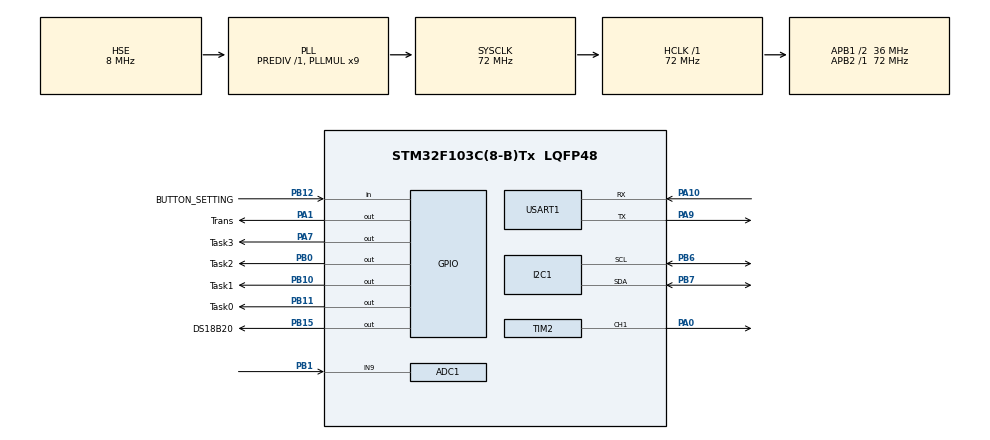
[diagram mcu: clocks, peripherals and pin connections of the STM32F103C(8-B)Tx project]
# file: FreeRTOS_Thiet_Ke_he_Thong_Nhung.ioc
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ADC1.Channel-0\#ChannelRegularConversion=ADC_CHANNEL_9
ADC1.ContinuousConvMode=ENABLE
ADC1.NbrOfConversionFlag=1
ADC1.Rank-0\#ChannelRegularConversion=1
ADC1.SamplingTime-0\#ChannelRegularConversion=ADC_SAMPLETIME_1CYCLE_5
ADC1.master=1
FREERTOS.BinarySemaphores01=xI2CSemaphore,Dynamic,NULL
FREERTOS.Queues01=PID1,16,uint16_t,0,Dynamic,NULL,NULL;PID2,16,uint16_t,0,Dynamic,NULL,NULL;Send_Data,16,uint16_t,0,Dynamic,NULL,NULL
FREERTOS.Tasks01=Read_Sensor_Tas,8,128,StartRead_Sensor_Task,Default,NULL,Dynamic,NULL,NULL;Send_Task,8,128,StartSend_Task,Default,NULL,Dynamic,NULL,NULL;Setpoint_Task,16,128,StartSetpoint_Task,Default,NULL,Dynamic,NULL,NULL;PID_Control_Tas,8,128,StartPID_Control_Task,Default,NULL,Dynamic,NULL,NULL
FREERTOS.configTICK_RATE_HZ=1000
Mcu.Family=STM32F1
Mcu.Name=STM32F103C(8-B)Tx
Mcu.Package=LQFP48
NVIC.PriorityGroup=NVIC_PRIORITYGROUP_4
NVIC.TIM1_UP_IRQn=true\:15\:0\:false\:false\:true\:false\:false\:true\:true
NVIC.TimeBase=TIM1_UP_IRQn
NVIC.TimeBaseIP=TIM1
PA0-WKUP.Signal=S_TIM2_CH1_ETR
PA1.GPIO_Label=Trans
PA1.Signal=GPIO_Output
PA10.Mode=Asynchronous
PA10.Signal=USART1_RX
PA13.Mode=Serial_Wire
PA13.Signal=SYS_JTMS-SWDIO
PA14.Mode=Serial_Wire
PA14.Signal=SYS_JTCK-SWCLK
PA7.GPIO_Label=Task3
PA7.Signal=GPIO_Output
PA9.Mode=Asynchronous
PA9.Signal=USART1_TX
PB0.GPIO_Label=Task2
PB0.Signal=GPIO_Output
PB1.Signal=ADCx_IN9
PB10.GPIO_Label=Task1
PB10.Signal=GPIO_Output
PB11.GPIO_Label=Task0
PB11.Signal=GPIO_Output
PB12.GPIO_Label=BUTTON_SETTING
PB12.Signal=GPIO_Input
PB15.GPIO_Label=DS18B20
PB15.Signal=GPIO_Output
PB6.Mode=I2C
PB6.Signal=I2C1_SCL
PB7.Mode=I2C
PB7.Signal=I2C1_SDA
PD0-OSC_IN.Mode=HSE-External-Oscillator
PD0-OSC_IN.Signal=RCC_OSC_IN
PD1-OSC_OUT.Mode=HSE-External-Oscillator
PD1-OSC_OUT.Signal=RCC_OSC_OUT
ProjectManager.HeapSize=0x200
ProjectManager.StackSize=0x400
ProjectManager.TargetToolchain=MDK-ARM V5.32
RCC.ADCPresc=RCC_ADCPCLK2_DIV8
RCC.AHBFreq_Value=72000000
RCC.APB1CLKDivider=RCC_HCLK_DIV2
RCC.APB1Freq_Value=36000000
RCC.APB1TimFreq_Value=72000000
RCC.APB2Freq_Value=72000000
RCC.APB2TimFreq_Value=72000000
RCC.HCLKFreq_Value=72000000
RCC.PLLMUL=RCC_PLL_MUL9
RCC.PLLSourceVirtual=RCC_PLLSOURCE_HSE
RCC.SYSCLKFreq_VALUE=72000000
RCC.SYSCLKSource=RCC_SYSCLKSOURCE_PLLCLK
RCC.USBFreq_Value=72000000
SH.ADCx_IN9.0=ADC1_IN9,IN9
SH.S_TIM2_CH1_ETR.0=TIM2_CH1,PWM Generation1 CH1
TIM2.Channel-PWM\ Generation1\ CH1=TIM_CHANNEL_1
TIM2.Period=99
TIM2.Prescaler=8000
TIM2.Pulse-PWM\ Generation1\ CH1=25
TIM4.Prescaler=72-1
USART1.VirtualMode=VM_ASYNC
VP_FREERTOS_VS_CMSIS_V2.Mode=CMSIS_V2
VP_SYS_VS_tim1.Mode=TIM1
VP_TIM2_VS_ClockSourceINT.Mode=Internal
VP_TIM4_VS_ClockSourceINT.Mode=Internal
board=custom

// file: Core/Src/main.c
/* USER CODE BEGIN Header */
/**
  ******************************************************************************
  * @file           : main.c
  * @brief          : Main program body
  ******************************************************************************
  * @attention
  *
  * Copyright (c) 2024 STMicroelectronics.
  * All rights reserved.
  *
  * This software is licensed under terms that can be found in the LICENSE file
  * in the root directory of this software component.
  * If no LICENSE file comes with this software, it is provided AS-IS.
  *
  ******************************************************************************
  */
/* USER CODE END Header */
#include "main.h"
#include "cmsis_os.h"
#include "CLCD_I2C.h"
#include <stdio.h>
#include "Setpoint_Interrupt.h"
#include "DS18B20.h"
#include "delay_timer.h"
#include "math.h"
#include "i2c-lcd.h"

ADC_HandleTypeDef hadc1;

I2C_HandleTypeDef hi2c1;

TIM_HandleTypeDef htim2;
TIM_HandleTypeDef htim4;

UART_HandleTypeDef huart1;

/* Definitions for Read_Sensor_Tas */
osThreadId_t Read_Sensor_TasHandle;
const osThreadAttr_t Read_Sensor_Tas_attributes = {
  .name = "Read_Sensor_Tas",
  .stack_size = 128 * 4,
  .priority = (osPriority_t) osPriorityLow,
};
/* Definitions for Send_Task */
osThreadId_t Send_TaskHandle;
const osThreadAttr_t Send_Task_attributes = {
  .name = "Send_Task",
  .stack_size = 128 * 4,
  .priority = (osPriority_t) osPriorityLow,
};
/* Definitions for Setpoint_Task */
osThreadId_t Setpoint_TaskHandle;
const osThreadAttr_t Setpoint_Task_attributes = {
  .name = "Setpoint_Task",
  .stack_size = 128 * 4,
  .priority = (osPriority_t) osPriorityBelowNormal,
};
/* Definitions for PID_Control_Tas */
osThreadId_t PID_Control_TasHandle;
const osThreadAttr_t PID_Control_Tas_attributes = {
  .name = "PID_Control_Tas",
  .stack_size = 128 * 4,
  .priority = (osPriority_t) osPriorityLow,
};
/* Definitions for PID1 */
osMessageQueueId_t PID1Handle;
const osMessageQueueAttr_t PID1_attributes = {
  .name = "PID1"
};
/* Definitions for PID2 */
osMessageQueueId_t PID2Handle;
const osMessageQueueAttr_t PID2_attributes = {
  .name = "PID2"
};
/* Definitions for Send_Data */
osMessageQueueId_t Send_DataHandle;
const osMessageQueueAttr_t Send_Data_attributes = {
  .name = "Send_Data"
};
/* Definitions for xI2CSemaphore */
osSemaphoreId_t xI2CSemaphoreHandle;
const osSemaphoreAttr_t xI2CSemaphore_attributes = {
  .name = "xI2CSemaphore"
};
/* USER CODE BEGIN PV */
CLCD_I2C_Name LCD1;
BUTTON_Setting SETTING;

DS18B20_Name DS1;
float Temp;
float Data  = 25;
char data_send[5];

float Kp = 5;
float Ki = 0.005;
float Kd = 45;

float prev_error = 0.0;
float integral = 0.0;

void PID_Control(float current_temperature, float setpoint_temperature) {
    float error = - setpoint_temperature + current_temperature;
    float pid_output = Kp * error + Ki * integral + Kd * (error - prev_error);

    if (pid_output > 100.0) {
        pid_output = 100.0;
    } else if (pid_output < 0.0) {
        pid_output = 0.0;
    }

    integral += error;
    prev_error = error;

    __HAL_TIM_SET_COMPARE(&htim2, TIM_CHANNEL_1, (uint32_t)(pid_output * htim2.Init.Period / 100.0));
}

void Printf_Sever(char *data_send, float Temp){
		sprintf(data_send, "Temperature: %.2f\n", Temp);
    HAL_UART_Transmit(&huart1, (uint8_t*)data_send, strlen(data_send), HAL_MAX_DELAY);
}

/* USER CODE END PV */

void SystemClock_Config(void);
static void MX_GPIO_Init(void);
static void MX_ADC1_Init(void);
static void MX_I2C1_Init(void);
static void MX_TIM2_Init(void);
static void MX_TIM4_Init(void);
static void MX_USART1_UART_Init(void);
void StartRead_Sensor_Task(void *argument);
void StartSend_Task(void *argument);
void StartSetpoint_Task(void *argument);
void StartPID_Control_Task(void *argument);

int main(void)
{

  /* MCU Configuration--------------------------------------------------------*/

  /* Reset of all peripherals, Initializes the Flash interface and the Systick. */
  HAL_Init();

  /* Configure the system clock */
  SystemClock_Config();

  /* Initialize all configured peripherals */
  MX_GPIO_Init();
  MX_ADC1_Init();
  MX_I2C1_Init();
  MX_TIM2_Init();
  MX_TIM4_Init();
  MX_USART1_UART_Init();
  /* USER CODE BEGIN 2 */
	HAL_ADC_Start(&hadc1);
	CLCD_I2C_Init(&LCD1,&hi2c1,0x4e,16,2);
	BUTTON_Setting_Init( &SETTING, BUTTON_SETTING_GPIO_Port, BUTTON_SETTING_Pin);
	HAL_TIM_PWM_Start(&htim2, TIM_CHANNEL_1);
	lcd_init();
	DS18B20_Init(&DS1, &htim4, DS18B20_GPIO_Port, DS18B20_Pin);
  /* USER CODE END 2 */

  /* Init scheduler */
  osKernelInitialize();

  /* Create the semaphores(s) */
  /* creation of xI2CSemaphore */
  xI2CSemaphoreHandle = osSemaphoreNew(1, 1, &xI2CSemaphore_attributes);

  /* Create the queue(s) */
  /* creation of PID1 */
  PID1Handle = osMessageQueueNew (16, sizeof(uint16_t), &PID1_attributes);

  /* creation of PID2 */
  PID2Handle = osMessageQueueNew (16, sizeof(uint16_t), &PID2_attributes);

  /* creation of Send_Data */
  Send_DataHandle = osMessageQueueNew (16, sizeof(uint16_t), &Send_Data_attributes);

  /* Create the thread(s) */
  /* creation of Read_Sensor_Tas */
  Read_Sensor_TasHandle = osThreadNew(StartRead_Sensor_Task, NULL, &Read_Sensor_Tas_attributes);

  /* creation of Send_Task */
  Send_TaskHandle = osThreadNew(StartSend_Task, NULL, &Send_Task_attributes);

  /* creation of Setpoint_Task */
  Setpoint_TaskHandle = osThreadNew(StartSetpoint_Task, NULL, &Setpoint_Task_attributes);

  /* creation of PID_Control_Tas */
  PID_Control_TasHandle = osThreadNew(StartPID_Control_Task, NULL, &PID_Control_Tas_attributes);

  /* Start scheduler */
  osKernelStart();

  /* We should never get here as control is now taken by the scheduler */
  /* Infinite loop */
  while (1)
  {

  }
}

void SystemClock_Config(void)
{
  RCC_OscInitTypeDef RCC_OscInitStruct = {0};
  RCC_ClkInitTypeDef RCC_ClkInitStruct = {0};
  RCC_PeriphCLKInitTypeDef PeriphClkInit = {0};

  /** Initializes the RCC Oscillators according to the specified parameters
  * in the RCC_OscInitTypeDef structure.
  */
  RCC_OscInitStruct.OscillatorType = RCC_OSCILLATORTYPE_HSE;
  RCC_OscInitStruct.HSEState = RCC_HSE_ON;
  RCC_OscInitStruct.HSEPredivValue = RCC_HSE_PREDIV_DIV1;
  RCC_OscInitStruct.HSIState = RCC_HSI_ON;
  RCC_OscInitStruct.PLL.PLLState = RCC_PLL_ON;
  RCC_OscInitStruct.PLL.PLLSource = RCC_PLLSOURCE_HSE;
  RCC_OscInitStruct.PLL.PLLMUL = RCC_PLL_MUL9;
  if (HAL_RCC_OscConfig(&RCC_OscInitStruct) != HAL_OK)
  {
    Error_Handler();
  }

  /** Initializes the CPU, AHB and APB buses clocks
  */
  RCC_ClkInitStruct.ClockType = RCC_CLOCKTYPE_HCLK|RCC_CLOCKTYPE_SYSCLK
                              |RCC_CLOCKTYPE_PCLK1|RCC_CLOCKTYPE_PCLK2;
  RCC_ClkInitStruct.SYSCLKSource = RCC_SYSCLKSOURCE_PLLCLK;
  RCC_ClkInitStruct.AHBCLKDivider = RCC_SYSCLK_DIV1;
  RCC_ClkInitStruct.APB1CLKDivider = RCC_HCLK_DIV2;
  RCC_ClkInitStruct.APB2CLKDivider = RCC_HCLK_DIV1;

  if (HAL_RCC_ClockConfig(&RCC_ClkInitStruct, FLASH_LATENCY_2) != HAL_OK)
  {
    Error_Handler();
  }
  PeriphClkInit.PeriphClockSelection = RCC_PERIPHCLK_ADC;
  PeriphClkInit.AdcClockSelection = RCC_ADCPCLK2_DIV8;
  if (HAL_RCCEx_PeriphCLKConfig(&PeriphClkInit) != HAL_OK)
  {
    Error_Handler();
  }
}

static void MX_ADC1_Init(void)
{

  ADC_ChannelConfTypeDef sConfig = {0};

  /** Common config
  */
  hadc1.Instance = ADC1;
  hadc1.Init.ScanConvMode = ADC_SCAN_DISABLE;
  hadc1.Init.ContinuousConvMode = ENABLE;
  hadc1.Init.DiscontinuousConvMode = DISABLE;
  hadc1.Init.ExternalTrigConv = ADC_SOFTWARE_START;
  hadc1.Init.DataAlign = ADC_DATAALIGN_RIGHT;
  hadc1.Init.NbrOfConversion = 1;
  if (HAL_ADC_Init(&hadc1) != HAL_OK)
  {
    Error_Handler();
  }

  /** Configure Regular Channel
  */
  sConfig.Channel = ADC_CHANNEL_9;
  sConfig.Rank = ADC_REGULAR_RANK_1;
  sConfig.SamplingTime = ADC_SAMPLETIME_1CYCLE_5;
  if (HAL_ADC_ConfigChannel(&hadc1, &sConfig) != HAL_OK)
  {
    Error_Handler();
  }

}

static void MX_I2C1_Init(void)
{

  hi2c1.Instance = I2C1;
  hi2c1.Init.ClockSpeed = 100000;
  hi2c1.Init.DutyCycle = I2C_DUTYCYCLE_2;
  hi2c1.Init.OwnAddress1 = 0;
  hi2c1.Init.AddressingMode = I2C_ADDRESSINGMODE_7BIT;
  hi2c1.Init.DualAddressMode = I2C_DUALADDRESS_DISABLE;
  hi2c1.Init.OwnAddress2 = 0;
  hi2c1.Init.GeneralCallMode = I2C_GENERALCALL_DISABLE;
  hi2c1.Init.NoStretchMode = I2C_NOSTRETCH_DISABLE;
  if (HAL_I2C_Init(&hi2c1) != HAL_OK)
  {
    Error_Handler();
  }

}

static void MX_TIM2_Init(void)
{

  TIM_ClockConfigTypeDef sClockSourceConfig = {0};
  TIM_MasterConfigTypeDef sMasterConfig = {0};
  TIM_OC_InitTypeDef sConfigOC = {0};

  htim2.Instance = TIM2;
  htim2.Init.Prescaler = 8000;
  htim2.Init.CounterMode = TIM_COUNTERMODE_UP;
  htim2.Init.Period = 99;
  htim2.Init.ClockDivision = TIM_CLOCKDIVISION_DIV1;
  htim2.Init.AutoReloadPreload = TIM_AUTORELOAD_PRELOAD_DISABLE;
  if (HAL_TIM_Base_Init(&htim2) != HAL_OK)
  {
    Error_Handler();
  }
  sClockSourceConfig.ClockSource = TIM_CLOCKSOURCE_INTERNAL;
  if (HAL_TIM_ConfigClockSource(&htim2, &sClockSourceConfig) != HAL_OK)
  {
    Error_Handler();
  }
  if (HAL_TIM_PWM_Init(&htim2) != HAL_OK)
  {
    Error_Handler();
  }
  sMasterConfig.MasterOutputTrigger = TIM_TRGO_RESET;
  sMasterConfig.MasterSlaveMode = TIM_MASTERSLAVEMODE_DISABLE;
  if (HAL_TIMEx_MasterConfigSynchronization(&htim2, &sMasterConfig) != HAL_OK)
  {
    Error_Handler();
  }
  sConfigOC.OCMode = TIM_OCMODE_PWM1;
  sConfigOC.Pulse = 25;
  sConfigOC.OCPolarity = TIM_OCPOLARITY_HIGH;
  sConfigOC.OCFastMode = TIM_OCFAST_DISABLE;
  if (HAL_TIM_PWM_ConfigChannel(&htim2, &sConfigOC, TIM_CHANNEL_1) != HAL_OK)
  {
    Error_Handler();
  }
  HAL_TIM_MspPostInit(&htim2);

}

static void MX_TIM4_Init(void)
{

  TIM_ClockConfigTypeDef sClockSourceConfig = {0};
  TIM_MasterConfigTypeDef sMasterConfig = {0};

  htim4.Instance = TIM4;
  htim4.Init.Prescaler = 72-1;
  htim4.Init.CounterMode = TIM_COUNTERMODE_UP;
  htim4.Init.Period = 65535;
  htim4.Init.ClockDivision = TIM_CLOCKDIVISION_DIV1;
  htim4.Init.AutoReloadPreload = TIM_AUTORELOAD_PRELOAD_DISABLE;
  if (HAL_TIM_Base_Init(&htim4) != HAL_OK)
  {
    Error_Handler();
  }
  sClockSourceConfig.ClockSource = TIM_CLOCKSOURCE_INTERNAL;
  if (HAL_TIM_ConfigClockSource(&htim4, &sClockSourceConfig) != HAL_OK)
  {
    Error_Handler();
  }
  sMasterConfig.MasterOutputTrigger = TIM_TRGO_RESET;
  sMasterConfig.MasterSlaveMode = TIM_MASTERSLAVEMODE_DISABLE;
  if (HAL_TIMEx_MasterConfigSynchronization(&htim4, &sMasterConfig) != HAL_OK)
  {
    Error_Handler();
  }

}

static void MX_USART1_UART_Init(void)
{

  huart1.Instance = USART1;
  huart1.Init.BaudRate = 115200;
  huart1.Init.WordLength = UART_WORDLENGTH_8B;
  huart1.Init.StopBits = UART_STOPBITS_1;
  huart1.Init.Parity = UART_PARITY_NONE;
  huart1.Init.Mode = UART_MODE_TX_RX;
  huart1.Init.HwFlowCtl = UART_HWCONTROL_NONE;
  huart1.Init.OverSampling = UART_OVERSAMPLING_16;
  if (HAL_UART_Init(&huart1) != HAL_OK)
  {
    Error_Handler();
  }

}

static void MX_GPIO_Init(void)
{
  GPIO_InitTypeDef GPIO_InitStruct = {0};

  /* GPIO Ports Clock Enable */
  __HAL_RCC_GPIOD_CLK_ENABLE();
  __HAL_RCC_GPIOA_CLK_ENABLE();
  __HAL_RCC_GPIOB_CLK_ENABLE();

  /*Configure GPIO pin Output Level */
  HAL_GPIO_WritePin(GPIOA, Trans_Pin|Task3_Pin, GPIO_PIN_RESET);

  /*Configure GPIO pin Output Level */
  HAL_GPIO_WritePin(GPIOB, Task2_Pin|Task1_Pin|Task0_Pin|DS18B20_Pin, GPIO_PIN_RESET);

  /*Configure GPIO pins : Trans_Pin Task3_Pin */
  GPIO_InitStruct.Pin = Trans_Pin|Task3_Pin;
  GPIO_InitStruct.Mode = GPIO_MODE_OUTPUT_PP;
  GPIO_InitStruct.Pull = GPIO_NOPULL;
  GPIO_InitStruct.Speed = GPIO_SPEED_FREQ_LOW;
  HAL_GPIO_Init(GPIOA, &GPIO_InitStruct);

  /*Configure GPIO pins : Task2_Pin Task1_Pin Task0_Pin DS18B20_Pin */
  GPIO_InitStruct.Pin = Task2_Pin|Task1_Pin|Task0_Pin|DS18B20_Pin;
  GPIO_InitStruct.Mode = GPIO_MODE_OUTPUT_PP;
  GPIO_InitStruct.Pull = GPIO_NOPULL;
  GPIO_InitStruct.Speed = GPIO_SPEED_FREQ_LOW;
  HAL_GPIO_Init(GPIOB, &GPIO_InitStruct);

  /*Configure GPIO pin : BUTTON_SETTING_Pin */
  GPIO_InitStruct.Pin = BUTTON_SETTING_Pin;
  GPIO_InitStruct.Mode = GPIO_MODE_INPUT;
  GPIO_InitStruct.Pull = GPIO_NOPULL;
  HAL_GPIO_Init(BUTTON_SETTING_GPIO_Port, &GPIO_InitStruct);

}

void StartRead_Sensor_Task(void *argument)
{
  /* USER CODE BEGIN 5 */
	__IO uint32_t tick1 = osKernelGetTickCount();
  	int i = 0;
  /* Infinite loop */
  for(;;)
  {
		Temp = DS18B20_ReadTemp(&DS1);
		HAL_GPIO_TogglePin (Task0_GPIO_Port, Task0_Pin) ;
		osMessageQueuePut(PID1Handle , &Temp ,0 ,0);
		i ++;
		if(i ==10) {
			i = 0 ;
			osMessageQueuePut(Send_DataHandle , &Temp, 0, 0);
		}
    	tick1 += 200;
		osDelayUntil (tick1);
  }
  /* USER CODE END 5 */
}

void StartSend_Task(void *argument)
{
  /* USER CODE BEGIN StartSend_Task */
	__IO uint32_t tick2 = osKernelGetTickCount();

  /* Infinite loop */
  for(;;)
  {
  osMessageQueueGet(Send_DataHandle, &Temp, 0, osWaitForever);
	HAL_GPIO_TogglePin (Task1_GPIO_Port, Task1_Pin) ;
	Printf_Sever(data_send, Temp) ;
	tick2 += 2000;
	osDelayUntil(tick2);
  }
  /* USER CODE END StartSend_Task */
}

void StartSetpoint_Task(void *argument)
{
  /* USER CODE BEGIN StartSetpoint_Task */
	__IO uint32_t tick3 = osKernelGetTickCount();
  /* Infinite loop */
  for(;;)
  {
    tick3 +=200;
		Data = HAL_ADC_GetValue(&hadc1);
		Data = mapToRange(Data, 10, 41);
	osMessageQueuePut(PID2Handle, &Data, 0, 0);
	HAL_GPIO_TogglePin (Task2_GPIO_Port, Task2_Pin) ;
	osDelayUntil(tick3);
  }
  /* USER CODE END StartSetpoint_Task */
}

void StartPID_Control_Task(void *argument)
{
  /* USER CODE BEGIN StartPID_Control_Task */
  __IO uint32_t tick4 = osKernelGetTickCount();
  /* Infinite loop */
  for(;;)
  {
  tick4 +=200 ;
	osMessageQueueGet(PID1Handle, &Temp, 0, osWaitForever);
	osMessageQueueGet(PID2Handle, &Data, 0, osWaitForever);
	PID_Control(Temp, Data);
	HAL_GPIO_TogglePin (Task3_GPIO_Port, Task3_Pin) ;
		lcd_clear();
		lcd_put_cur(0,0);
		lcd_send_string("Setpoint: ");
		sprintf(data_send,"%2.2f",Data);
		lcd_send_string(data_send);
		lcd_put_cur(1,2);
    lcd_send_string("T = ");
    lcd_put_cur(1,11);
    lcd_send_data(223);
    lcd_put_cur(1,12);
    lcd_send_string("C");
		sprintf(data_send,"%2.2f",Temp);
		lcd_send_cmd(0x80|0x46);
		lcd_send_string(data_send);
		if (Temp <=25 ) HAL_GPIO_WritePin(Trans_GPIO_Port,Trans_Pin,1);
		else if (Temp >=30 ) HAL_GPIO_WritePin(Trans_GPIO_Port,Trans_Pin,0);
		HAL_Delay(100);
	osDelayUntil(tick4);
  }
  /* USER CODE END StartPID_Control_Task */
}

void HAL_TIM_PeriodElapsedCallback(TIM_HandleTypeDef *htim)
{
  if (htim->Instance == TIM1) {
    HAL_IncTick();
  }
}

void Error_Handler(void)
{
  __disable_irq();
  while (1)
  {
  }
}
